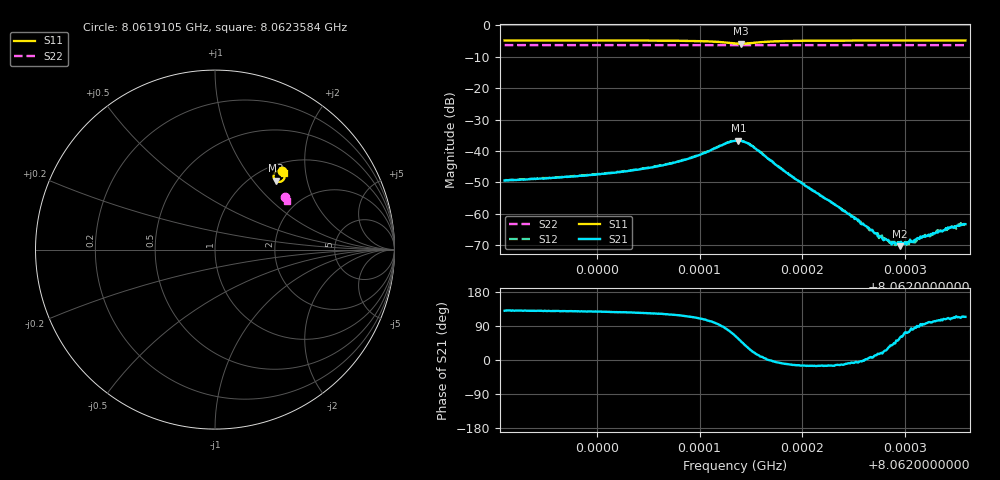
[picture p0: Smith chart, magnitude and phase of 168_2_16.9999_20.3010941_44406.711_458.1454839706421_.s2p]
#  HZ  S  RI  R  50.00
! Rohde & Schwarz Vector Network Analyzer
! Rohde-Schwarz,ZNB20-2Port,1311601062101988,3.16
! Created: UTC 3/20/2024, 10:59:38 PM
! freq[Hz]  re:S11  im:S11  re:S21  im:S21  re:S12  im:S12  re:S22  im:S22
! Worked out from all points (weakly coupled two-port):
!   401 points, 8.0619105 GHz to 8.0623584 GHz, reference 50 ohm
!   highest |S21| = -36.73 dB at 8.0621378 GHz (marker M1); lowest = -70.4 dB at 8.0622945 GHz (marker M2)
!   lowest |S11| = -5.8 dB at 8.06214 GHz (marker M3), VSWR 3.09, Z = 62.9 + j65.5 ohm
!   |S11| at or under -10 dB: nowhere
!   |S22| runs from -6.3 to -6.3 dB; largest |S21 - S12| = 0.0011
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8.06191049e9  0.3705 0.4406  -0.00216 0.00258  -0.00204 0.00273  0.3877 0.2931
8.0619855e9  0.3766 0.4348  -0.00249 0.00313  -0.00234 0.00332  0.3902 0.2895
8.06203029e9  0.3812 0.4298  -0.00276 0.00389  -0.00257 0.00408  0.3917 0.287
8.06206052e9  0.3844 0.4241  -0.00307 0.00485  -0.00281 0.00508  0.3927 0.2854
8.06209075e9  0.3879 0.4132  -0.00315 0.00697  -0.00276 0.00726  0.3937 0.2834
8.06213442e9  0.3517 0.3778  0.00633 0.013  0.00713 0.0128  0.3928 0.2805
8.06213778e9  0.3427 0.3809  0.00826 0.012  0.00905 0.0117  0.3925 0.2806
8.06214002e9  0.3372 0.3846  0.0093 0.0111  0.01 0.0104  0.3927 0.2808
8.0621501e9  0.3262 0.4091  0.0111 0.00521  0.0114 0.00466  0.3928 0.2815
8.06218145e9  0.352 0.439  0.00481 -0.000781  0.00476 -0.0011  0.3953 0.281
8.06220944e9  0.3651 0.4387  0.00227 -0.000612  0.00226 -0.000762  0.3967 0.2794
8.06225311e9  0.3745 0.4351  0.000791 -8.55e-05  0.000809 -0.000109  0.3985 0.277
8.0622755e9  0.3777 0.4334  0.000405 0.000126  0.000438 0.000117  0.3994 0.276
8.06228446e9  0.3787 0.4327  0.000292 0.000204  0.000283 0.000195  0.3995 0.2756
8.06229453e9  0.3797 0.432  0.000161 0.000257  0.000197 0.000279  0.3999 0.2748
8.06230797e9  0.3811 0.4311  4.92e-05 0.00035  8.11e-05 0.000362  0.4005 0.2743
8.06231469e9  0.3817 0.4306  -3.62e-05 0.00043  3.34e-05 0.000417  0.4006 0.2739
8.06232253e9  0.3825 0.4301  -7.88e-05 0.000451  -4.21e-05 0.000458  0.4008 0.2736
8.0623326e9  0.3834 0.4294  -0.000135 0.000505  -0.000112 0.00051  0.4011 0.273
8.06234828e9  0.3846 0.4284  -0.000227 0.000575  -0.000242 0.000583  0.4018 0.2722
8.06235276e9  0.3851 0.4282  -0.000245 0.000591  -0.000227 0.000619  0.4018 0.2719
8.06235836e9  0.3855 0.4277  -0.000275 0.000622  -0.000256 0.00063  0.4021 0.2717
